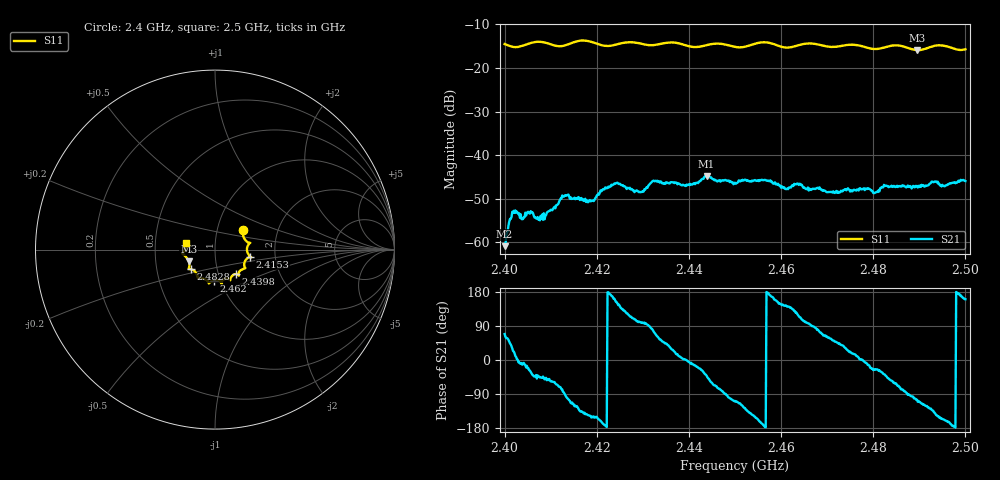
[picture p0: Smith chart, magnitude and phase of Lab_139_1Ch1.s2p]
# Hz S RI R 50
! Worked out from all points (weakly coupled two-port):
!   601 points, 2.4 GHz to 2.5 GHz, reference 50 ohm
!   highest |S21| = -44.85 dB at 2.4438 GHz (marker M1); lowest = -60.9 dB at 2.4 GHz (marker M2)
!   lowest |S11| = -15.9 dB at 2.4895 GHz (marker M3), VSWR 1.38, Z = 37 - j5.02 ohm
!   |S11| at or under -10 dB: start of sweep to end of sweep
!   S12 and S22 are empty: the file has one direction only
!   S11 on the Smith chart (normalised r, x): 2.4 GHz: 1.33, +0.29; 2.4153 GHz: 1.48, -0.12; 2.4398 GHz: 1.21, -0.34; 2.462 GHz: 0.93, -0.33; 2.4828 GHz: 0.74, -0.17; 2.5 GHz: 0.72, +0.06
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2.4e9  0.1554 0.1065  0.00033 0.000837  0 0  0 0
2.401333e9  0.1556 0.0853  0.0014 0.00121  0 0  0 0
2.402167e9  0.1584 0.0715  0.00207 0.000638  0 0  0 0
2.407833e9  0.1958 0.0376  0.0014 -0.00144  0 0  0 0
2.412667e9  0.1791 -0.00992  0.000354 -0.00337  0 0  0 0
2.415333e9  0.1964 -0.0388  -0.00158 -0.00269  0 0  0 0
2.416667e9  0.2024 -0.0428  -0.00228 -0.00227  0 0  0 0
2.419167e9  0.1927 -0.0421  -0.00263 -0.00145  0 0  0 0
2.424e9  0.1628 -0.0871  -0.00432 0.00182  0 0  0 0
2.429667e9  0.1566 -0.1079  -0.000536 0.00374  0 0  0 0
2.433333e9  0.1309 -0.1338  0.00249 0.00428  0 0  0 0
2.439833e9  0.1154 -0.1361  0.00454 -0.000321  0 0  0 0
2.443833e9  0.086 -0.1619  0.0043 -0.00377  0 0  0 0
2.45e9  0.0652 -0.1625  -0.0015 -0.00458  0 0  0 0
2.456167e9  0.0384 -0.1936  -0.0051 -0.000717  0 0  0 0
2.462e9  -0.00517 -0.1727  -0.00314 0.00287  0 0  0 0
2.466667e9  -0.0342 -0.188  2.17e-05 0.00404  0 0  0 0
2.4805e9  -0.1141 -0.1193  0.00341 -0.00153  0 0  0 0
2.482833e9  -0.1365 -0.1093  0.00328 -0.00303  0 0  0 0
2.483333e9  -0.1403 -0.109  0.00282 -0.00322  0 0  0 0
2.4895e9  -0.146 -0.0661  -0.00115 -0.00427  0 0  0 0
2.5e9  -0.1595 0.0388  -0.00474 0.00169  0 0  0 0
